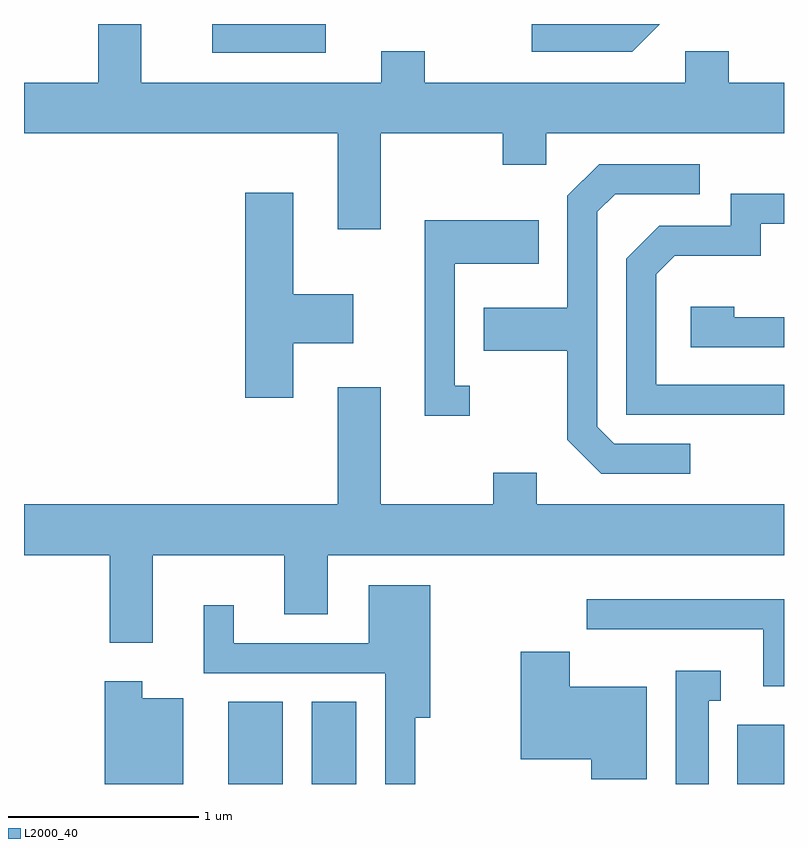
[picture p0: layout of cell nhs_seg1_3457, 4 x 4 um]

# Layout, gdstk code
import gdstk
lib = gdstk.Library(unit=1e-6, precision=1e-09)
def R(c, l, rs):  # rectangles x0, y0, x1, y1
    for r in rs: c.add(gdstk.rectangle(r[:2], r[2:], *l))
def P(c, l, *ps):  # polygons
    for p in ps: c.add(gdstk.Polygon(p, *l))
L2000_40 = (2000, 40)

nhs_seg1_3457 = lib.new_cell('nhs_seg1_3457')
R(nhs_seg1_3457, L2000_40, [(290.686,891.712,290.974,892.144), (291.126,891.712,291.359,892.144), (293.366,891.712,293.611,892.024), (290.603,895.561,291.199,895.712)])
P(nhs_seg1_3457, L2000_40, [(291.489,895.136),(292.131,895.136),(292.131,894.971),(292.359,894.971),(292.359,895.136),(293.611,895.136),(293.611,895.404),(293.319,895.404),(293.319,895.569),(293.091,895.569),(293.091,895.404),(291.719,895.404),(291.719,895.569),(291.491,895.569),(291.491,895.404),(290.229,895.404),(290.229,895.712),(290.001,895.712),(290.001,895.404),(289.611,895.404),(289.611,895.136),(291.261,895.136),(291.261,894.631),(291.489,894.631)],
  [(292.957,895.712),(292.283,895.712),(292.283,895.566),(292.812,895.566)],
  [(293.118,893.504),(292.717,893.504),(292.629,893.592),(292.629,894.724),(292.722,894.816),(293.168,894.816),(293.168,894.974),(292.639,894.974),(292.471,894.807),(292.471,894.219),(292.031,894.219),(292.031,893.991),(292.471,893.991),(292.471,893.524),(292.649,893.346),(293.118,893.346)],
  [(291.029,894.031),(291.344,894.031),(291.344,894.289),(291.029,894.289),(291.029,894.824),(290.776,894.824),(290.776,893.746),(291.029,893.746)],
  [(293.611,893.814),(292.939,893.814),(292.939,894.394),(293.037,894.491),(293.489,894.491),(293.489,894.661),(293.611,894.661),(293.611,894.819),(293.331,894.819),(293.331,894.649),(292.954,894.649),(292.781,894.477),(292.781,893.656),(293.611,893.656)],
  [(291.958,893.809),(291.879,893.809),(291.879,894.451),(292.319,894.451),(292.319,894.679),(291.721,894.679),(291.721,893.651),(291.958,893.651)],
  [(293.611,894.169),(293.349,894.169),(293.349,894.224),(293.121,894.224),(293.121,894.011),(293.611,894.011)],
  [(290.289,892.916),(290.981,892.916),(290.981,892.606),(291.209,892.606),(291.209,892.916),(293.611,892.916),(293.611,893.184),(292.309,893.184),(292.309,893.349),(292.081,893.349),(292.081,893.184),(291.489,893.184),(291.489,893.799),(291.261,893.799),(291.261,893.184),(289.611,893.184),(289.611,892.916),(290.061,892.916),(290.061,892.456),(290.289,892.456)],
  [(291.669,892.061),(291.749,892.061),(291.749,892.759),(291.426,892.759),(291.426,892.454),(290.714,892.454),(290.714,892.653),(290.556,892.653),(290.556,892.296),(291.511,892.296),(291.511,891.712),(291.669,891.712)],
  [(293.611,892.684),(292.573,892.684),(292.573,892.526),(293.501,892.526),(293.501,892.226),(293.611,892.226)],
  [(292.889,892.224),(292.484,892.224),(292.484,892.409),(292.226,892.409),(292.226,891.841),(292.596,891.841),(292.596,891.736),(292.889,891.736)],
  [(293.214,892.151),(293.278,892.151),(293.278,892.309),(293.041,892.309),(293.041,891.712),(293.214,891.712)],
  [(290.449,892.164),(290.234,892.164),(290.234,892.254),(290.036,892.254),(290.036,891.712),(290.449,891.712)])

lib.write_gds('nhs_seg1_3457.gds')
